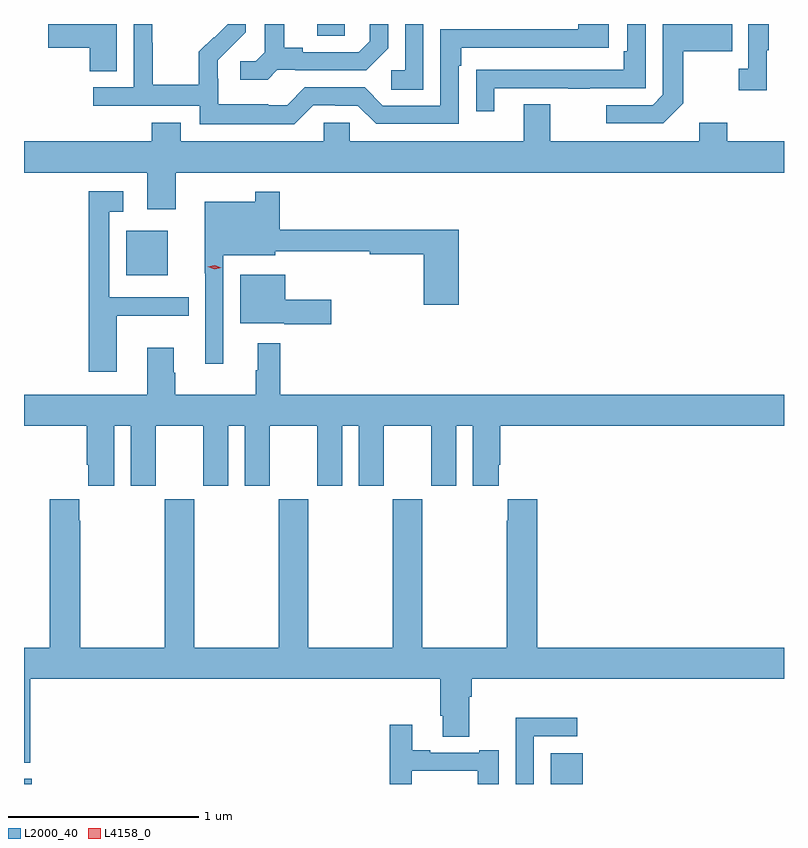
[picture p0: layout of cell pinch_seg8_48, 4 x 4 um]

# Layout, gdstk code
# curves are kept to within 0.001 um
import gdstk
lib = gdstk.Library(unit=1e-6, precision=1e-09)
def R(c, l, rs):  # rectangles x0, y0, x1, y1
    for r in rs: c.add(gdstk.rectangle(r[:2], r[2:], *l))
def P(c, l, *ps):  # polygons
    for p in ps: c.add(gdstk.Polygon(p, *l))
L2000_40 = (2000, 40)
L4158_0 = (4158, 0)

pinch_seg8_48 = lib.new_cell('pinch_seg8_48')
R(pinch_seg8_48, L2000_40, [(897.604,1129.266,897.646,1129.294), (900.377,1129.266,900.544,1129.429), (898.142,1131.944,898.36,1132.177), (899.147,1133.203,899.292,1133.266), (898.367,1133.265,898.546,1133.266)])
P(pinch_seg8_48, L2000_40, [(899.706,1133.266),(899.61,1133.266),(899.61,1133.022),(899.538,1133.022),(899.538,1132.921),(899.706,1132.921)],
  [(898.093,1133.266),(897.732,1133.266),(897.732,1133.141),(897.95,1133.141),(897.95,1133.017),(898.093,1133.017)],
  [(900.079,1132.929),(900.469,1132.929),(900.469,1132.924),(900.581,1132.924),(900.581,1132.929),(900.876,1132.929),(900.876,1133.266),(900.78,1133.266),(900.78,1133.122),(900.76,1133.122),(900.76,1133.025),(900.085,1133.025),(900.085,1133.024),(899.983,1133.024),(899.983,1132.806),(900.079,1132.806)],
  [(901.513,1133.129),(901.525,1133.129),(901.525,1133.266),(901.416,1133.266),(901.416,1133.03),(901.365,1133.03),(901.365,1132.917),(901.513,1132.917)],
  [(899.127,1132.839),(899.243,1132.839),(899.243,1132.836),(899.361,1132.836),(899.457,1132.74),(899.892,1132.74),(899.892,1133.045),(899.905,1133.045),(899.905,1133.142),(900.682,1133.142),(900.682,1133.266),(900.521,1133.266),(900.521,1133.238),(899.796,1133.238),(899.796,1132.836),(899.493,1132.836),(899.397,1132.932),(899.082,1132.932),(898.989,1132.839),(898.889,1132.839),(898.889,1132.843),(898.626,1132.843),(898.626,1132.977),(898.624,1132.977),(898.624,1133.074),(898.77,1133.222),(898.77,1133.266),(898.676,1133.266),(898.676,1133.264),(898.605,1133.193),(898.602,1133.196),(898.525,1133.119),(898.525,1132.945),(898.281,1132.945),(898.281,1133.168),(898.278,1133.168),(898.278,1133.266),(898.182,1133.266),(898.182,1132.932),(897.969,1132.932),(897.969,1132.836),(898.53,1132.836),(898.53,1132.739),(899.027,1132.739)],
  [(898.938,1133.025),(899.032,1133.025),(899.032,1133.022),(899.404,1133.022),(899.52,1133.138),(899.52,1133.266),(899.423,1133.266),(899.423,1133.175),(899.366,1133.118),(899.071,1133.118),(899.071,1133.141),(898.975,1133.141),(898.975,1133.266),(898.871,1133.266),(898.871,1133.117),(898.824,1133.07),(898.743,1133.07),(898.743,1132.973),(898.886,1132.973)],
  [(901.075,1132.849),(901.075,1133.122),(901.331,1133.122),(901.331,1133.266),(900.966,1133.266),(900.966,1132.893),(900.912,1132.839),(900.669,1132.839),(900.669,1132.743),(900.969,1132.743)],
  [(898.277,1132.648),(897.604,1132.648),(897.604,1132.484),(898.253,1132.484),(898.253,1132.29),(898.402,1132.29),(898.402,1132.484),(901.604,1132.484),(901.604,1132.648),(901.305,1132.648),(901.305,1132.747),(901.157,1132.747),(901.157,1132.648),(900.373,1132.648),(900.373,1132.843),(900.233,1132.843),(900.233,1132.648),(899.319,1132.648),(899.319,1132.746),(899.181,1132.746),(899.181,1132.648),(898.429,1132.648),(898.429,1132.747),(898.277,1132.747)],
  [(898.093,1131.731),(898.472,1131.731),(898.472,1131.828),(898.053,1131.828),(898.053,1132.277),(898.126,1132.277),(898.126,1132.387),(897.945,1132.387),(897.945,1131.725),(897.944,1131.725),(897.944,1131.435),(898.093,1131.435)],
  [(898.653,1132.049),(898.926,1132.049),(898.926,1132.069),(899.424,1132.069),(899.424,1132.054),(899.708,1132.054),(899.708,1131.789),(899.891,1131.789),(899.891,1132.183),(898.949,1132.183),(898.949,1132.384),(898.821,1132.384),(898.821,1132.33),(898.556,1132.33),(898.556,1131.953),(898.557,1131.953),(898.557,1131.477),(898.653,1131.477)],
  [(899.221,1131.814),(898.978,1131.814),(898.978,1131.946),(898.742,1131.946),(898.742,1131.692),(898.974,1131.692),(898.974,1131.685),(899.221,1131.685)],
  [(898.078,1131.152),(898.166,1131.152),(898.166,1130.835),(898.297,1130.835),(898.297,1131.152),(898.547,1131.152),(898.547,1130.835),(898.678,1130.835),(898.678,1131.152),(898.766,1131.152),(898.766,1130.835),(898.897,1130.835),(898.897,1131.152),(899.147,1131.152),(899.147,1130.835),(899.278,1130.835),(899.278,1131.152),(899.366,1131.152),(899.366,1130.835),(899.497,1130.835),(899.497,1131.152),(899.747,1131.152),(899.747,1130.835),(899.878,1130.835),(899.878,1131.152),(899.966,1131.152),(899.966,1130.835),(900.103,1130.835),(900.103,1130.947),(900.11,1130.947),(900.11,1131.152),(901.604,1131.152),(901.604,1131.316),(898.952,1131.316),(898.952,1131.586),(898.835,1131.586),(898.835,1131.443),(898.824,1131.443),(898.824,1131.316),(898.401,1131.316),(898.401,1131.431),(898.393,1131.431),(898.393,1131.562),(898.253,1131.562),(898.253,1131.316),(897.604,1131.316),(897.604,1131.152),(897.935,1131.152),(897.935,1130.947),(897.941,1130.947),(897.941,1130.835),(898.078,1130.835)],
  [(899.7,1130.764),(899.545,1130.764),(899.545,1129.984),(899.1,1129.984),(899.1,1130.764),(898.945,1130.764),(898.945,1129.984),(898.5,1129.984),(898.5,1130.764),(898.345,1130.764),(898.345,1129.984),(897.9,1129.984),(897.9,1130.651),(897.895,1130.651),(897.895,1130.764),(897.74,1130.764),(897.74,1129.984),(897.604,1129.984),(897.604,1129.379),(897.638,1129.379),(897.638,1129.82),(899.795,1129.82),(899.795,1129.624),(899.807,1129.624),(899.807,1129.516),(899.947,1129.516),(899.947,1129.724),(899.96,1129.724),(899.96,1129.82),(901.604,1129.82),(901.604,1129.984),(900.305,1129.984),(900.305,1130.764),(900.149,1130.764),(900.149,1130.651),(900.145,1130.651),(900.145,1129.984),(899.7,1129.984)],
  [(900.288,1129.518),(900.517,1129.518),(900.517,1129.616),(900.192,1129.616),(900.192,1129.266),(900.288,1129.266)],
  [(899.646,1129.335),(899.993,1129.335),(899.993,1129.266),(900.103,1129.266),(900.103,1129.444),(899.999,1129.444),(899.999,1129.431),(899.743,1129.431),(899.743,1129.444),(899.647,1129.444),(899.647,1129.579),(899.53,1129.579),(899.53,1129.266),(899.646,1129.266)])
P(pinch_seg8_48, L4158_0, [(898.607,1131.976),(898.572,1131.988),(898.572,1131.988),(898.572,1131.988),(898.608,1131.996),(898.643,1131.984),(898.643,1131.984),(898.643,1131.984)])

lib.write_gds('pinch_seg8_48.gds')
